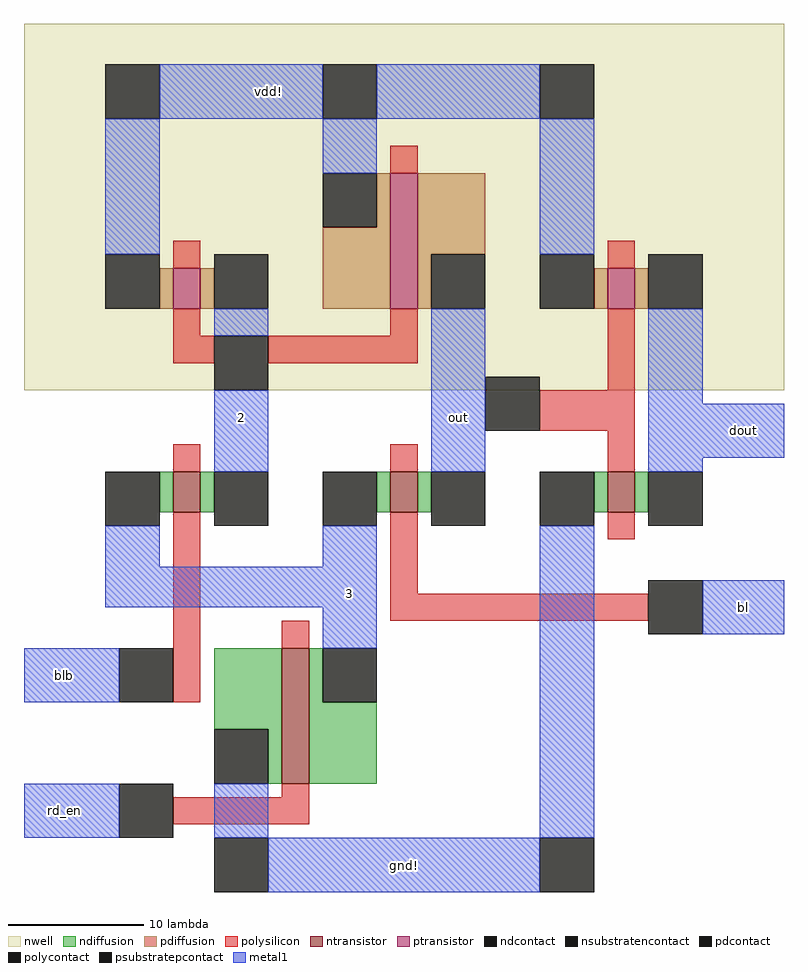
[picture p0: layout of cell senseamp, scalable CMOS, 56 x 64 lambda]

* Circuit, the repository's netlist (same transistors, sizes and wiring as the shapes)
* SPICE3 file created from senseamp.ext - technology: scmos

.option scale=0.1u

M1000 dout out vdd vdd pfet w=3 l=2
+  ad=19 pd=18 as=88 ps=66
M1001 2 2 vdd vdd pfet w=3 l=2
+  ad=19 pd=18 as=0 ps=0
M1002 out bl 3 gnd nfet w=3 l=2
+  ad=19 pd=18 as=88 ps=66
M1003 out 2 vdd vdd pfet w=10 l=2
+  ad=50 pd=30 as=0 ps=0
M1004 2 blb 3 gnd nfet w=3 l=2
+  ad=19 pd=18 as=0 ps=0
M1005 3 rd_en gnd gnd nfet w=10 l=2
+  ad=0 pd=0 as=69 ps=48
M1006 dout out gnd gnd nfet w=3 l=2
+  ad=19 pd=18 as=0 ps=0

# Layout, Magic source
magic
tech scmos
<< nwell >>
rect -16 -7 40 20
<< ntransistor >>
rect -5 -16 -3 -13
rect 11 -16 13 -13
rect 27 -16 29 -13
rect 3 -36 5 -26
<< ptransistor >>
rect -5 -1 -3 2
rect 11 -1 13 9
rect 27 -1 29 2
<< ndiffusion >>
rect -6 -16 -5 -13
rect -3 -16 -2 -13
rect 10 -16 11 -13
rect 13 -16 14 -13
rect 26 -16 27 -13
rect 29 -16 30 -13
rect -2 -32 3 -26
rect 2 -36 3 -32
rect 5 -30 6 -26
rect 5 -36 10 -30
<< pdiffusion >>
rect 10 5 11 9
rect -6 -1 -5 2
rect -3 -1 -2 2
rect 6 -1 11 5
rect 13 3 18 9
rect 13 -1 14 3
rect 26 -1 27 2
rect 29 -1 30 2
<< ndcontact >>
rect -10 -17 -6 -13
rect -2 -17 2 -13
rect 6 -17 10 -13
rect 14 -17 18 -13
rect 22 -17 26 -13
rect 30 -17 34 -13
rect -2 -36 2 -32
rect 6 -30 10 -26
<< pdcontact >>
rect 6 5 10 9
rect -10 -1 -6 3
rect -2 -1 2 3
rect 14 -1 18 3
rect 22 -1 26 3
rect 30 -1 34 3
<< psubstratepcontact >>
rect -2 -44 2 -40
rect 22 -44 26 -40
<< nsubstratencontact >>
rect -10 13 -6 17
rect 6 13 10 17
rect 22 13 26 17
<< polysilicon >>
rect 11 9 13 11
rect -5 2 -3 4
rect 27 2 29 4
rect -5 -3 -3 -1
rect 11 -3 13 -1
rect -5 -5 -2 -3
rect 2 -5 13 -3
rect 27 -7 29 -1
rect 22 -10 29 -7
rect -5 -13 -3 -11
rect 11 -13 13 -11
rect 27 -13 29 -10
rect -5 -30 -3 -16
rect 11 -22 13 -16
rect 27 -18 29 -16
rect 11 -24 30 -22
rect 3 -26 5 -24
rect 3 -37 5 -36
rect -5 -39 5 -37
<< polycontact >>
rect -2 -7 2 -3
rect 18 -10 22 -6
rect -9 -30 -5 -26
rect 30 -25 34 -21
rect -9 -40 -5 -36
<< metal1 >>
rect -6 13 6 17
rect 10 13 22 17
rect -10 3 -6 13
rect 6 9 10 13
rect 22 3 26 13
rect -2 -3 2 -1
rect -2 -13 2 -7
rect 14 -13 18 -1
rect 30 -8 34 -1
rect 30 -12 40 -8
rect 30 -13 34 -12
rect -10 -20 -6 -17
rect 6 -20 10 -17
rect -10 -23 10 -20
rect 6 -26 10 -23
rect -16 -30 -9 -26
rect -16 -40 -9 -36
rect -2 -40 2 -36
rect 22 -40 26 -17
rect 34 -25 40 -21
rect 2 -44 22 -40
<< labels >>
rlabel metal1 2 15 2 15 5 vdd!
rlabel metal1 12 -42 12 -42 1 gnd!
rlabel metal1 -13 -28 -13 -28 3 blb
rlabel metal1 -13 -38 -13 -38 3 rd_en
rlabel metal1 37 -23 37 -23 7 bl
rlabel metal1 37 -10 37 -10 7 dout
rlabel metal1 0 -9 0 -9 1 2
rlabel metal1 16 -9 16 -9 1 out
rlabel metal1 8 -22 8 -22 1 3
<< end >>
